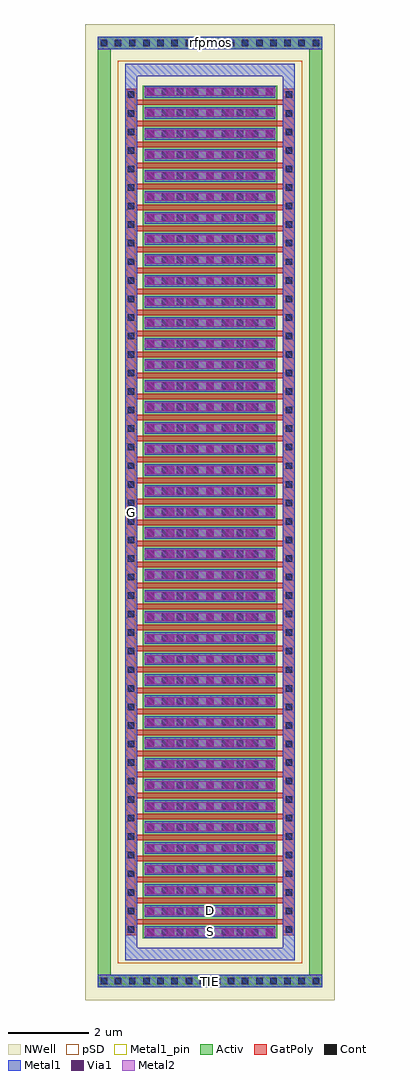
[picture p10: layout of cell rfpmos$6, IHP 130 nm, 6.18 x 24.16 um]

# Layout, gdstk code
import gdstk
lib = gdstk.Library(unit=1e-6, precision=1e-09)
def R(c, l, rs):  # rectangles x0, y0, x1, y1
    for r in rs: c.add(gdstk.rectangle(r[:2], r[2:], *l))
def A(c, l, x, y, w, h, nx, ny, dx, dy):  # array of equal rectangles
    R(c, l, [(x+i*dx, y+j*dy, x+i*dx+w, y+j*dy+h) for i in range(nx) for j in range(ny)])
def P(c, l, *ps):  # polygons
    for p in ps: c.add(gdstk.Polygon(p, *l))
Activ = (1, 0)
GatPoly = (5, 0)
Cont = (6, 0)
Metal1 = (8, 0)
Metal1_pin = (8, 2)
Metal2 = (10, 0)
pSD = (14, 0)
Via1 = (19, 0)
NWell = (31, 0)

rfpmos_6 = lib.new_cell('rfpmos$6')
R(rfpmos_6, Activ, [(1.42,1.525,4.76,22.635)])
P(rfpmos_6, Activ, [(0.31,0.31),(0.31,23.53),(0.63,23.53),(0.63,0.63),(5.55,0.63),(5.55,23.53),(0.31,23.53),(0.31,23.85),(5.87,23.85),(5.87,0.31)])
A(rfpmos_6, GatPoly, 1.29, 1.875, 3.6, 0.13, 1, 40, 0, 0.52)
R(rfpmos_6, GatPoly, [(0.99,1.6,1.29,22.56), (4.89,1.6,5.19,22.56)])
A(rfpmos_6, Cont, 0.735, 0.39, 0.16, 0.16, 7, 2, 0.35, 23.22)
A(rfpmos_6, Cont, 3.18, 0.39, 0.16, 0.16, 8, 2, 0.35, 23.22)
A(rfpmos_6, Cont, 1.52, 1.6, 0.16, 0.16, 1, 41, 0, 0.52)
A(rfpmos_6, Cont, 1.89, 1.6, 0.16, 0.16, 1, 41, 0, 0.52)
A(rfpmos_6, Cont, 2.265, 1.6, 0.16, 0.16, 1, 41, 0, 0.52)
A(rfpmos_6, Cont, 2.635, 1.6, 0.16, 0.16, 1, 41, 0, 0.52)
A(rfpmos_6, Cont, 3.01, 1.6, 0.16, 0.16, 1, 41, 0, 0.52)
A(rfpmos_6, Cont, 3.38, 1.6, 0.16, 0.16, 1, 41, 0, 0.52)
A(rfpmos_6, Cont, 3.755, 1.6, 0.16, 0.16, 1, 41, 0, 0.52)
A(rfpmos_6, Cont, 4.125, 1.6, 0.16, 0.16, 1, 41, 0, 0.52)
A(rfpmos_6, Cont, 4.5, 1.6, 0.16, 0.16, 1, 41, 0, 0.52)
A(rfpmos_6, Cont, 1.06, 2.125, 0.16, 0.16, 1, 5, 0, 0.46)
A(rfpmos_6, Cont, 4.96, 2.125, 0.16, 0.16, 1, 5, 0, 0.46)
A(rfpmos_6, Cont, 1.06, 4.42, 0.16, 0.16, 1, 6, 0, 0.46)
A(rfpmos_6, Cont, 4.96, 4.42, 0.16, 0.16, 1, 6, 0, 0.46)
A(rfpmos_6, Cont, 1.06, 7.175, 0.16, 0.16, 1, 5, 0, 0.46)
A(rfpmos_6, Cont, 4.96, 7.175, 0.16, 0.16, 1, 5, 0, 0.46)
A(rfpmos_6, Cont, 1.06, 9.47, 0.16, 0.16, 1, 6, 0, 0.46)
A(rfpmos_6, Cont, 4.96, 9.47, 0.16, 0.16, 1, 6, 0, 0.46)
A(rfpmos_6, Cont, 1.06, 12.225, 0.16, 0.16, 1, 6, 0, 0.46)
A(rfpmos_6, Cont, 4.96, 12.225, 0.16, 0.16, 1, 6, 0, 0.46)
A(rfpmos_6, Cont, 1.06, 14.98, 0.16, 0.16, 1, 5, 0, 0.46)
A(rfpmos_6, Cont, 4.96, 14.98, 0.16, 0.16, 1, 5, 0, 0.46)
A(rfpmos_6, Cont, 1.06, 17.275, 0.16, 0.16, 1, 6, 0, 0.46)
A(rfpmos_6, Cont, 4.96, 17.275, 0.16, 0.16, 1, 6, 0, 0.46)
A(rfpmos_6, Cont, 1.06, 20.03, 0.16, 0.16, 1, 6, 0, 0.46)
A(rfpmos_6, Cont, 4.96, 20.03, 0.16, 0.16, 1, 6, 0, 0.46)
R(rfpmos_6, Cont, [(0.39,0.39,0.55,0.55), (1.06,1.67,1.22,1.83), (4.96,1.67,5.12,1.83), (0.39,23.61,0.55,23.77)])
A(rfpmos_6, Metal1, 1.47, 1.54, 3.24, 0.28, 1, 41, 0, 0.52)
R(rfpmos_6, Metal1, [(0.31,0.31,5.87,0.63), (1.04,1.62,1.24,22.54), (4.94,1.62,5.14,22.54), (0.31,23.53,5.87,23.85)])
P(rfpmos_6, Metal1, [(0.99,0.99),(0.99,22.87),(1.29,22.87),(1.29,1.29),(4.89,1.29),(4.89,22.87),(0.99,22.87),(0.99,23.17),(5.19,23.17),(5.19,0.99)])
R(rfpmos_6, Metal1_pin, [(0.31,0.39,5.87,0.55), (0.31,0.39,5.87,0.55), (1.47,1.54,4.71,1.82), (1.47,1.54,4.71,1.82), (1.04,1.62,1.24,22.54), (1.04,1.62,1.24,22.54), (1.47,2.06,4.71,2.34), (1.47,2.06,4.71,2.34)])
A(rfpmos_6, Metal2, 1.47, 1.58, 3.24, 0.2, 1, 41, 0, 0.52)
R(rfpmos_6, pSD, [(0.81,0.91,5.37,23.25)])
A(rfpmos_6, Via1, 1.52, 1.585, 0.19, 0.19, 3, 41, 0.49, 0.52)
A(rfpmos_6, Via1, 2.995, 1.585, 0.19, 0.19, 3, 41, 0.49, 0.52)
A(rfpmos_6, Via1, 4.47, 1.585, 0.19, 0.19, 1, 41, 0, 0.52)
R(rfpmos_6, NWell, [(0,0,6.18,24.16)])
rfpmos_6.add(gdstk.Label('S', (3.09,1.7), layer=63, texttype=0))
rfpmos_6.add(gdstk.Label('D', (3.09,2.22), layer=63, texttype=0))
rfpmos_6.add(gdstk.Label('G', (1.14,12.08), layer=63, texttype=0))
rfpmos_6.add(gdstk.Label('TIE', (3.09,0.47), layer=63, texttype=0))
rfpmos_6.add(gdstk.Label('rfpmos', (3.09,23.69), layer=63, texttype=0))

lib.write_gds('rfpmos_6.gds')
